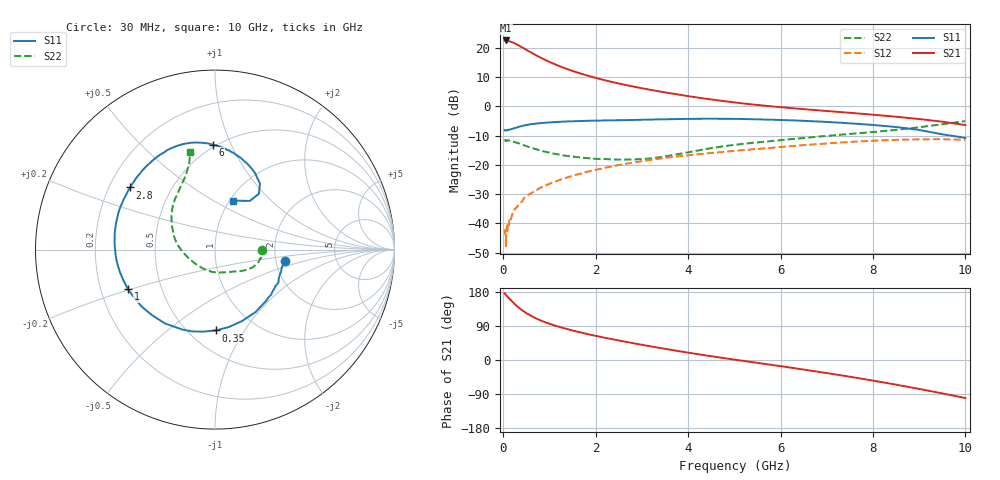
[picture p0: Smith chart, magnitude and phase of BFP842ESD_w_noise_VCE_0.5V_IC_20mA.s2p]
! Infineon Technologies  Discrete & RF Semiconductors
! BFP842ESD
! VCE =  0.5 V,  IC =  20 mA
! Common Emitter S-Parameters:  May 2012
# GHz  S  MA  R  50
!  f  S11  S21  S12  S22
! GHz  MAG  ANG  MAG  ANG  MAG  ANG  MAG  ANG
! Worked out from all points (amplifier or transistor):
!   99 points, 30 MHz to 10 GHz, reference 50 ohm
!   highest |S21| = 22.5 dB at 60 MHz (marker M1)
!   |S21| within 3 dB of that: start of sweep to 479.7 MHz
!   unconditionally stable (mu >= 1): start of sweep to end of sweep
!   at 350 MHz: K = 1.64, MAG = 22.2 dB, |S12| = -33.2 dB
!   at 3.5 GHz: K = 1.46, MAG = 7.2 dB, |S12| = -17.6 dB
!   at 10 GHz: K = 2.34, MAG = -4.0 dB, |S12| = -11.4 dB
!   lowest NFmin = 0.81 dB at 450 MHz
!   S11 on the Smith chart (normalised r, x): 30 MHz: 2.23, -0.34; 350 MHz: 0.67, -0.76; 1 GHz: 0.32, -0.19; 2.8 GHz: 0.29, +0.30; 6 GHz: 0.48, +0.85; 10 GHz: 1.03, +0.61
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0.03  0.3929 -9.3  13.34 176.1  0.0079 20.7  0.2618 -0.6
0.05  0.385 -15.3  13.2 173.0  0.0065 6.3  0.2553 -3.2
0.06  0.3885 -18.5  13.36 171.6  0.0041 69.7  0.2677 -4.3
0.08  0.3915 -25.2  13.21 168.8  0.0091 39.8  0.2623 -5.9
0.15  0.403 -44.6  12.82 159.8  0.0108 48.8  0.2562 -11.4
0.2  0.415 -57.0  12.39 153.5  0.0146 53.3  0.2521 -16.1
0.25  0.4255 -69.2  11.94 147.5  0.0178 60.4  0.2457 -19.1
0.35  0.4504 -89.3  10.83 136.8  0.022 57.2  0.232 -25.1
0.45  0.4729 -105.3  9.755 127.8  0.0271 59.4  0.216 -30.0
0.6  0.4968 -124.0  8.335 116.7  0.0328 57.1  0.1976 -36.3
0.8  0.5174 -142.2  6.852 104.9  0.0407 56.0  0.1766 -43.1
1  0.5328 -155.7  5.757 95.7  0.0475 54.5  0.162 -49.0
1.3  0.5492 -171.0  4.589 84.4  0.058 52.5  0.1449 -59.0
1.7  0.5631 173.7  3.587 72.0  0.0716 48.8  0.1322 -72.6
2.2  0.5759 159.0  2.796 58.7  0.0895 43.2  0.1262 -91.9
2.8  0.586 143.8  2.193 44.6  0.1094 35.9  0.1232 -118.3
3.4  0.6004 130.9  1.79 31.6  0.1284 28.1  0.1358 -145.8
5.1  0.6102 102.8  1.144 -0.6  0.1766 4.8  0.2248 167.1
6  0.5851 91.3  0.971 -16.2  0.2022 -8.2  0.2649 153.6
6.7  0.5573 81.9  0.871 -28.9  0.2238 -19.5  0.2983 144.3
8.5  0.4446 55.7  0.666 -65.1  0.2683 -55.9  0.3972 119.1
10  0.29 70.3  0.48 -100.5  0.2687 -95.5  0.5606 104.2
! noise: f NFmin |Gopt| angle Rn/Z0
0.45  0.81  0.05  -152  0.09
0.9  0.81  0.07  -145  0.09
1.5  0.82  0.09  -141  0.08
1.9  0.82  0.11  -135  0.08
2.4  0.83  0.13  -132  0.08
3.5  0.88  0.16  -118  0.09
4  0.91  0.17  -115  0.1
5  0.98  0.18  -104  0.11
5.5  1.09  0.19  -101  0.12
6  1.19  0.2  -98  0.13
